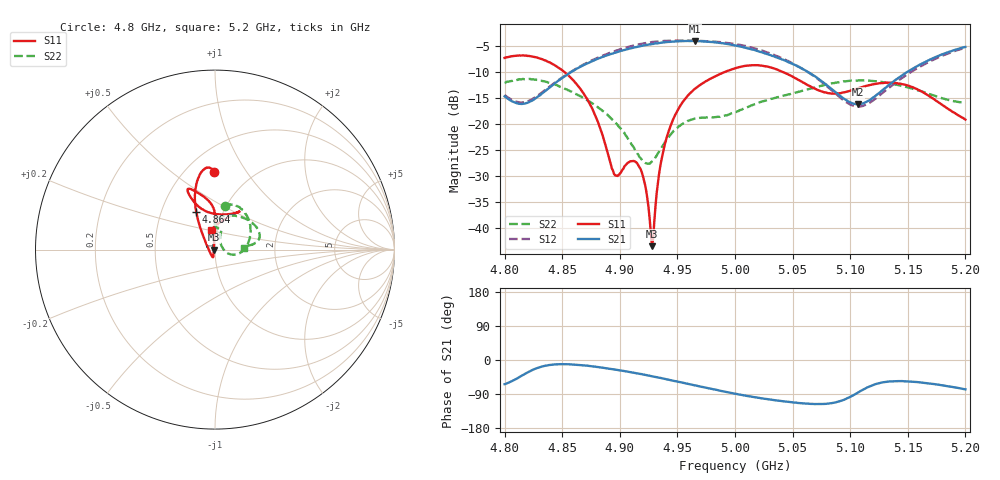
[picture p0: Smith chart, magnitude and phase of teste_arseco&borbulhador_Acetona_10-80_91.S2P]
! Network Analyzer HP8722D
! Hewlett-Packard
! Data name: Linha & Wilkinson
! Saver's name: Rodrigo Anjos
! Comments: Teste da utilização de aquisição
! continua pelo VNA HP8722D
! Time and date: 25/4/2025 16:01
!  Frequency  S11  S21  S12  S22
# HZ  S  MA R 50
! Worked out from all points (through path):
!   401 points, 4.8 GHz to 5.2 GHz, reference 50 ohm
!   highest |S21| = -3.96 dB at 4.965 GHz (marker M1); lowest = -16.1 dB at 5.107 GHz (marker M2)
!   lowest |S11| = -43.4 dB at 4.928 GHz (marker M3), VSWR 1.01, Z = 49.3 - j0.0444 ohm
!   |S11| at or under -10 dB: 4.852 GHz to 4.991 GHz (138.5 MHz wide, 2.81 % of centre); 5.042 GHz to end of sweep
!   |S22| runs from -27.6 to -11.3 dB; largest |S21 - S12| = 1.2
!   S11 on the Smith chart (normalised r, x): 4.8 GHz: 0.68, +0.72; 4.864 GHz: 0.75, +0.33; 5.2 GHz: 0.94, +0.21
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4.8e9  0.4348 90.7  0.1858 -63.8  0.1909 69.6  0.2493 77.5
4.82e9  0.4541 96.9  0.1613 -32.7  0.1666 98.2  0.2719 61.8
4.864e9  0.2326 116.6  0.3487 -12.7  0.3518 121.1  0.1903 12.2
4.867e9  0.2095 118.3  0.3625 -13.8  0.3674 120.7  0.1833 8.7
4.88e9  0.1121 128.5  0.4229 -18.3  0.4325 118.4  0.1487 -5.3
4.896e9  0.0323 -166.5  0.4873 -25.3  0.5071 113.2  0.1048 -15.9
4.91e9  0.04424 -106.6  0.5384 -32.3  0.5644 107.1  0.06459 -13.7
4.917e9  0.0388 -104.0  0.5612 -36.3  0.5894 103.6  0.04862 -1.5
4.922e9  0.02607 -107.3  0.5751 -39.3  0.6017 100.8  0.04276 16.2
4.928e9  0.006758 -176.2  0.5914 -42.9  0.6183 97.2  0.04398 40.2
4.93e9  0.01188 122.7  0.5959 -44.3  0.6194 95.8  0.04642 48.0
4.934e9  0.03287 99.4  0.6033 -46.7  0.6281 93.3  0.05457 58.0
4.939e9  0.06386 93.0  0.6131 -49.7  0.6344 90.1  0.067 65.6
4.946e9  0.1097 89.8  0.6224 -54.3  0.6383 85.7  0.0844 69.9
4.965e9  0.2182 91.0  0.6337 -66.9  0.6364 73.5  0.1135 71.6
5e9  0.3454 109.1  0.5733 -88.9  0.591 50.8  0.1305 88.3
5.03e9  0.3539 115.2  0.4649 -104.3  0.4816 33.8  0.1732 85.4
5.067e9  0.2264 105.3  0.3015 -115.8  0.2989 23.6  0.2214 57.3
5.107e9  0.2224 64.1  0.156 -85.6  0.1478 57.7  0.2641 24.2
5.134e9  0.2512 57.4  0.2402 -56.7  0.226 88.6  0.2483 12.4
5.169e9  0.1859 70.0  0.4178 -62.0  0.4013 85.0  0.1949 6.9
5.2e9  0.1111 100.4  0.5537 -77.5  0.5443 70.2  0.1614 3.9
